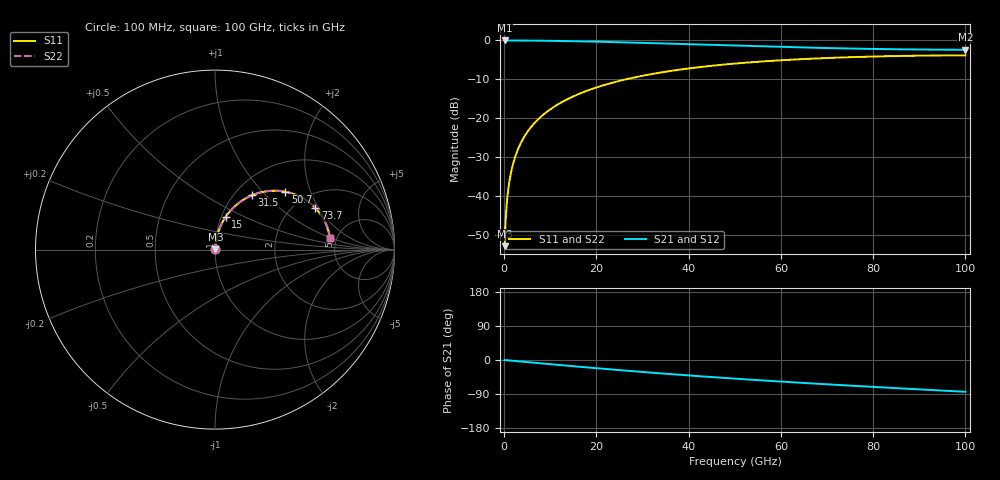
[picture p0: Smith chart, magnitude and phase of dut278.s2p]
! Touchstone file exported from HFSS 2026.1.0
!  File:  C:/ffzhzh/LocalFiles/Ansys_Project_Files/temp_train_RDL_278_1783501999_44152.aedt
!  Generated:  05:14:36 PM Jul  8, 2026
!  Design:  RDL
!  Project:  temp_train_RDL_278_1783501999_44152
! Variables:
!  h_bsmrdl = 2um
!  h_ox = 20um
!  h_rdl = 5um
!  h_sub = 80um
!  h_tmrdl = 2.86um
!  h_tsv = 80um
!  h_via = 3um
!  l_bsmrdl = 300um
!  l_sub = 647.88um
!  l_tmrdl = 247.88um
!  m_sub = 200um
!  pitch = 55.65um
!  r_tsv = 6um
!  s_tmrdl = 10um
!  w_bsmrdl = 18um
!  w_sub = 500um
!  w_tmrdl = 20.02um
!  x_tsv_center1 = 257.89um
!  x_tsv_center2 = 575.89um
!  x_tsv_center3 = 843.79um
!  x_tsv_center4 = 1161.79um
!  x_tsv_center5 = 1429.69um
!  x_tsv_center6 = 1747.69um
# GHz S MA R 50.000000
! Terminal data exported
! Port[1] = TM_RDL1_1_T1
! Port[2] = TM_RDL1_1_T2
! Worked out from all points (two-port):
!   1000 points, 100 MHz to 100 GHz, reference 50 ohm
!   highest |S21| = -0.02 dB at 100 MHz (marker M1); lowest = -2.4 dB at 100 GHz (marker M2)
!   |S21| within 3 dB of the highest: start of sweep to end of sweep
!   lowest |S11| = -52.9 dB at 100 MHz (marker M3), VSWR 1.00, Z = 50.2 + j0.142 ohm
!   |S11| at or under -10 dB: start of sweep to 26.42 GHz
!   |S22| runs from -52.9 to -3.8 dB; largest |S21 - S12| = 4.3e-15
!   S11 on the Smith chart (normalised r, x): 100 MHz: 1.00, +0.00; 15 GHz: 1.05, +0.40; 31.5 GHz: 1.20, +0.83; 50.7 GHz: 1.57, +1.36; 73.7 GHz: 2.55, +1.87; 100 GHz: 4.40, +0.94
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0.1  0.00227 38.6  0.9982 -0.1  0.9982 -0.1  0.00227 38.6
! Gamma 0 0 0 0
! Port Impedance 50 0 50 0
0.4  0.00588 70.3  0.998 -0.5  0.998 -0.5  0.00588 70.3
0.8  0.01106 78.1  0.9978 -0.9  0.9978 -0.9  0.01106 78.1
1.1  0.01497 80.4  0.9977 -1.2  0.9977 -1.2  0.01497 80.4
1.4  0.0189 81.7  0.9976 -1.6  0.9976 -1.6  0.0189 81.7
1.9  0.02548 82.7  0.9974 -2.1  0.9974 -2.1  0.02548 82.7
2.4  0.03206 83.1  0.9971 -2.7  0.9971 -2.7  0.03206 83.1
3.7  0.04916 82.9  0.9962 -4.2  0.9962 -4.2  0.04916 82.9
5.6  0.07397 81.5  0.9943 -6.3  0.9943 -6.3  0.07397 81.5
8.1  0.1061 79.1  0.9909 -9.0  0.9909 -9.0  0.1061 79.1
11.2  0.145 75.9  0.9852 -12.4  0.9852 -12.4  0.145 75.9
15  0.191 72.0  0.9766 -16.5  0.9766 -16.5  0.191 72.0
16.8  0.2121 70.2  0.9719 -18.4  0.9719 -18.4  0.2121 70.2
23.4  0.2852 63.6  0.9522 -25.1  0.9522 -25.1  0.2852 63.6
31.5  0.365 55.9  0.9241 -33.0  0.9241 -33.0  0.365 55.9
33.4  0.382 54.1  0.9171 -34.8  0.9171 -34.8  0.382 54.2
50.1  0.5044 39.9  0.856 -49.3  0.856 -49.3  0.5044 39.9
50.7  0.5079 39.4  0.8539 -49.8  0.8539 -49.8  0.5079 39.5
66.7  0.5827 27.4  0.8052 -61.9  0.8052 -61.9  0.5827 27.5
73.7  0.605 22.6  0.7887 -66.7  0.7887 -66.7  0.605 22.7
83.4  0.627 16.2  0.7716 -73.2  0.7716 -73.2  0.627 16.3
100  0.6433 5.6  0.7579 -83.9  0.7579 -83.9  0.6434 5.8
